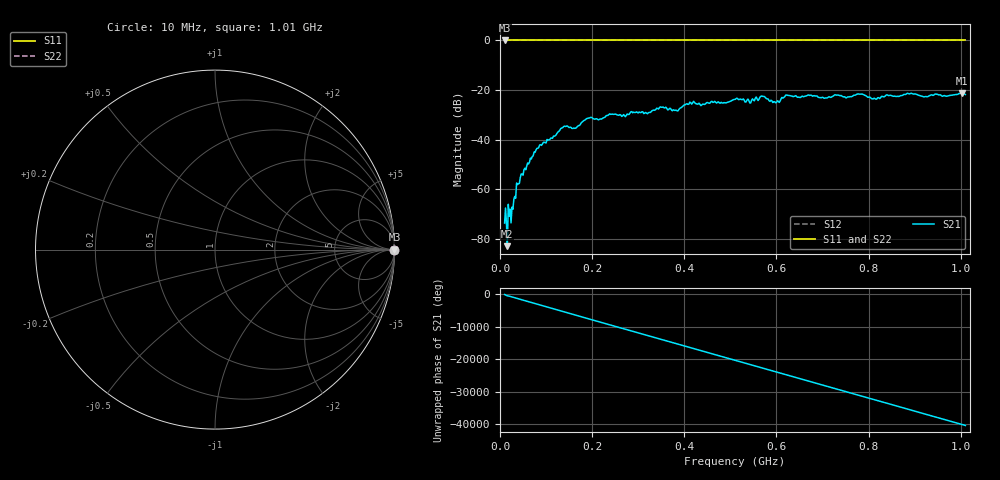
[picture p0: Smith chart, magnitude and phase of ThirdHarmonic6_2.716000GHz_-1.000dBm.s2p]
! 8/17/2025 6:35:42 AM
! C:\ANRITSUVNA\TEMP\TEMP.S2P
! CHANNEL.1
! TR.MEASUREMENT
! RAW.DATA
! RF.CORRECTION.OFF
! AVERAGING.OFF
! IF.BANDWIDTH: 5KHZ
! SWEEPTYPE:  FREQ.SWEEP(Linear)
! Reference Plane Port Info
! PORT:  PORT1  PORT2
! DISTANCE:  0  m  0  m
! TIME:  0  s  0  s
! PHASE.OFFSET:  0  deg.  0  deg.
! LOSS:  0  dB  0  dB
! REF.LOSS:  0  dB  0  dB
! REF.FREQ:  0  Hz  0  Hz
! Power Info
! POWER:  -20  dBm  -20  dBm
! EFF.POWER:  -20  dBm  -20  dBm
! SOURCE.ATTEN:  0  dB  0  dB
! TEST.ATTEN:  0  dB  0  dB
# GHZ S RI R 50.0
! FREQ.GHZ  S11RE  S11IM  S21RE  S21IM  S12RE  S12IM  S22RE  S22IM
!; PortSelection: Port_12
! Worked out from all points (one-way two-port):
!   501 points, 10 MHz to 1.01 GHz, reference 50 ohm
!   highest |S21| = -21.30 dB at 1.002 GHz (marker M1); lowest = -83.1 dB at 16 MHz (marker M2)
!   lowest |S11| = 0.0 dB at 10 MHz (marker M3)
!   |S11| at or under -10 dB: nowhere
!   |S22| runs from 0.0 to 0.0 dB; largest |S21 - S12| = 1.1
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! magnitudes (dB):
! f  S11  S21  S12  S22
! 10 MHz  0.0  -73.7  0.0  0.0
! 12 MHz  0.0  -67.6  0.0  0.0
! 16 MHz  0.0  -83.1  0.0  0.0
! 20 MHz  0.0  -71.0  0.0  0.0
! 28 MHz  0.0  -68.2  0.0  0.0
! 40 MHz  0.0  -57.9  0.0  0.0
! 78 MHz  0.0  -44.3  0.0  0.0
! 136 MHz  0.0  -35.2  0.0  0.0
! 162 MHz  0.0  -35.5  0.0  0.0
! 178 MHz  0.0  -33.0  0.0  0.0
! 344 MHz  0.0  -27.7  0.0  0.0
! 382 MHz  0.0  -28.1  0.0  0.0
! 416 MHz  0.0  -25.7  0.0  0.0
! 510 MHz  0.0  -23.8  0.0  0.0
! 546 MHz  0.0  -24.1  0.0  0.0
! 570 MHz  0.0  -22.6  0.0  0.0
! 596 MHz  0.0  -24.7  0.0  0.0
! 624 MHz  0.0  -22.1  0.0  0.0
! 678 MHz  0.0  -22.5  0.0  0.0
! 844 MHz  0.0  -22.3  0.0  0.0
! 1.002 GHz  0.0  -21.3  0.0  0.0
! 1.01 GHz  0.0  -21.8  0.0  0.0
